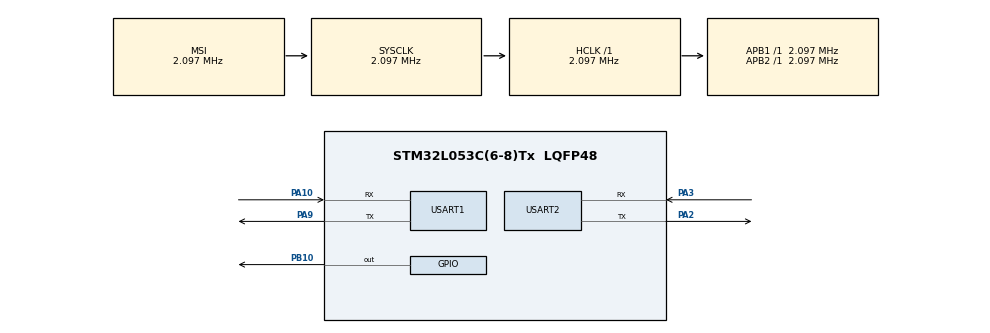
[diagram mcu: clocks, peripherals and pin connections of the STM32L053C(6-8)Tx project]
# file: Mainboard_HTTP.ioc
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Mcu.Family=STM32L0
Mcu.Name=STM32L053C(6-8)Tx
Mcu.Package=LQFP48
PA10.Mode=Asynchronous
PA10.Signal=USART1_RX
PA2.Mode=Asynchronous
PA2.Signal=USART2_TX
PA3.Mode=Asynchronous
PA3.Signal=USART2_RX
PA9.Mode=Asynchronous
PA9.Signal=USART1_TX
PB10.Signal=GPIO_Output
ProjectManager.HeapSize=0x200
ProjectManager.StackSize=0x400
ProjectManager.TargetToolchain=STM32CubeIDE
RCC.AHBFreq_Value=2097000
RCC.APB1Freq_Value=2097000
RCC.APB1TimFreq_Value=2097000
RCC.APB2Freq_Value=2097000
RCC.APB2TimFreq_Value=2097000
RCC.HSE_VALUE=8000000
RCC.HSI16_VALUE=16000000
RCC.HSI48_VALUE=48000000
RCC.HSI_VALUE=16000000
RCC.LSE_VALUE=32768
RCC.MSI_VALUE=2097000
RCC.SYSCLKFreq_VALUE=2097000
RCC.VCOOutputFreq_Value=48000000
USART1.VirtualMode-Asynchronous=VM_ASYNC
USART2.VirtualMode-Asynchronous=VM_ASYNC
board=custom

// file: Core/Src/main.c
/* USER CODE BEGIN Header */
/**
  ******************************************************************************
  * @file           : main.c
  * @brief          : Main program body
  ******************************************************************************
  * @attention
  *
  * Copyright (c) 2024 STMicroelectronics.
  * All rights reserved.
  *
  * This software is licensed under terms that can be found in the LICENSE file
  * in the root directory of this software component.
  * If no LICENSE file comes with this software, it is provided AS-IS.
  *
  ******************************************************************************
  */
/* USER CODE END Header */
#include "main.h"

/* USER CODE BEGIN Includes */
#include "stdio.h"
/* USER CODE END Includes */

/* USER CODE BEGIN PM */
#define KX122_ADDR 0x1F << 1  // O endereço pode variar dependendo da configuração do pino ADDR

// Defina os registradores do KX122-1037
#define KX122_WHO_AM_I 0x0F
#define KX122_CTRL_REG1 0x18
#define KX122_DATA_CTRL_REG 0x1B
#define KX122_XOUT_L 0x06

// Variáveis para armazenar dados do acelerômetro
int16_t x, y, z;
float x_g, y_g, z_g;
/* USER CODE END PM */

UART_HandleTypeDef huart1;
UART_HandleTypeDef huart2;

/* USER CODE BEGIN PV */
I2C_HandleTypeDef hi2c1;
/* USER CODE END PV */

void SystemClock_Config(void);
static void MX_GPIO_Init(void);
static void MX_USART1_UART_Init(void);
static void MX_USART2_UART_Init(void);
/* USER CODE BEGIN PFP */
void KX122_Init(I2C_HandleTypeDef *hi2c);
void KX122_ReadAccel(I2C_HandleTypeDef *hi2c, int16_t *x, int16_t *y, int16_t *z);
/* USER CODE END PFP */

/* USER CODE BEGIN 0 */
int __io_putchar(int ch) {
    HAL_UART_Transmit(&huart2, (uint8_t *)&ch, 1, HAL_MAX_DELAY);
    return ch;
}
/* USER CODE END 0 */

int main(void)
{

  /* MCU Configuration--------------------------------------------------------*/

  /* Reset of all peripherals, Initializes the Flash interface and the Systick. */
  HAL_Init();

  /* Configure the system clock */
  SystemClock_Config();

  /* Initialize all configured peripherals */
  MX_GPIO_Init();
  MX_USART1_UART_Init();
  MX_USART2_UART_Init();
  /* USER CODE BEGIN 2 */

  printf("Inicializando KX122-1037...\n");
  KX122_Init(&hi2c1);

  /* USER CODE END 2 */

  /* Infinite loop */
  while (1)
  {

  }
}

void SystemClock_Config(void)
{
  RCC_OscInitTypeDef RCC_OscInitStruct = {0};
  RCC_ClkInitTypeDef RCC_ClkInitStruct = {0};
  RCC_PeriphCLKInitTypeDef PeriphClkInit = {0};

  /** Configure the main internal regulator output voltage
  */
  __HAL_PWR_VOLTAGESCALING_CONFIG(PWR_REGULATOR_VOLTAGE_SCALE1);

  /** Initializes the RCC Oscillators according to the specified parameters
  * in the RCC_OscInitTypeDef structure.
  */
  RCC_OscInitStruct.OscillatorType = RCC_OSCILLATORTYPE_MSI;
  RCC_OscInitStruct.MSIState = RCC_MSI_ON;
  RCC_OscInitStruct.MSICalibrationValue = 0;
  RCC_OscInitStruct.MSIClockRange = RCC_MSIRANGE_5;
  RCC_OscInitStruct.PLL.PLLState = RCC_PLL_NONE;
  if (HAL_RCC_OscConfig(&RCC_OscInitStruct) != HAL_OK)
  {
    Error_Handler();
  }

  /** Initializes the CPU, AHB and APB buses clocks
  */
  RCC_ClkInitStruct.ClockType = RCC_CLOCKTYPE_HCLK|RCC_CLOCKTYPE_SYSCLK
                              |RCC_CLOCKTYPE_PCLK1|RCC_CLOCKTYPE_PCLK2;
  RCC_ClkInitStruct.SYSCLKSource = RCC_SYSCLKSOURCE_MSI;
  RCC_ClkInitStruct.AHBCLKDivider = RCC_SYSCLK_DIV1;
  RCC_ClkInitStruct.APB1CLKDivider = RCC_HCLK_DIV1;
  RCC_ClkInitStruct.APB2CLKDivider = RCC_HCLK_DIV1;

  if (HAL_RCC_ClockConfig(&RCC_ClkInitStruct, FLASH_LATENCY_0) != HAL_OK)
  {
    Error_Handler();
  }
  PeriphClkInit.PeriphClockSelection = RCC_PERIPHCLK_USART1|RCC_PERIPHCLK_USART2;
  PeriphClkInit.Usart1ClockSelection = RCC_USART1CLKSOURCE_PCLK2;
  PeriphClkInit.Usart2ClockSelection = RCC_USART2CLKSOURCE_PCLK1;
  if (HAL_RCCEx_PeriphCLKConfig(&PeriphClkInit) != HAL_OK)
  {
    Error_Handler();
  }
}

static void MX_USART1_UART_Init(void)
{

  huart1.Instance = USART1;
  huart1.Init.BaudRate = 115200;
  huart1.Init.WordLength = UART_WORDLENGTH_8B;
  huart1.Init.StopBits = UART_STOPBITS_1;
  huart1.Init.Parity = UART_PARITY_NONE;
  huart1.Init.Mode = UART_MODE_TX_RX;
  huart1.Init.HwFlowCtl = UART_HWCONTROL_NONE;
  huart1.Init.OverSampling = UART_OVERSAMPLING_16;
  huart1.Init.OneBitSampling = UART_ONE_BIT_SAMPLE_DISABLE;
  huart1.AdvancedInit.AdvFeatureInit = UART_ADVFEATURE_NO_INIT;
  if (HAL_UART_Init(&huart1) != HAL_OK)
  {
    Error_Handler();
  }

}

static void MX_USART2_UART_Init(void)
{

  huart2.Instance = USART2;
  huart2.Init.BaudRate = 115200;
  huart2.Init.WordLength = UART_WORDLENGTH_8B;
  huart2.Init.StopBits = UART_STOPBITS_1;
  huart2.Init.Parity = UART_PARITY_NONE;
  huart2.Init.Mode = UART_MODE_TX_RX;
  huart2.Init.HwFlowCtl = UART_HWCONTROL_NONE;
  huart2.Init.OverSampling = UART_OVERSAMPLING_16;
  huart2.Init.OneBitSampling = UART_ONE_BIT_SAMPLE_DISABLE;
  huart2.AdvancedInit.AdvFeatureInit = UART_ADVFEATURE_NO_INIT;
  if (HAL_UART_Init(&huart2) != HAL_OK)
  {
    Error_Handler();
  }

}

static void MX_GPIO_Init(void)
{
  GPIO_InitTypeDef GPIO_InitStruct = {0};

  /* GPIO Ports Clock Enable */
  __HAL_RCC_GPIOA_CLK_ENABLE();
  __HAL_RCC_GPIOB_CLK_ENABLE();

  /*Configure GPIO pin Output Level */
  HAL_GPIO_WritePin(GPIOB, GPIO_PIN_10, GPIO_PIN_RESET);

  /*Configure GPIO pin : PB10 */
  GPIO_InitStruct.Pin = GPIO_PIN_10;
  GPIO_InitStruct.Mode = GPIO_MODE_OUTPUT_PP;
  GPIO_InitStruct.Pull = GPIO_NOPULL;
  GPIO_InitStruct.Speed = GPIO_SPEED_FREQ_LOW;
  HAL_GPIO_Init(GPIOB, &GPIO_InitStruct);

}

/* USER CODE BEGIN 4 */
void KX122_Init(I2C_HandleTypeDef *hi2c) {
    uint8_t data[2];

    // Verificar o ID do dispositivo
    HAL_I2C_Mem_Read(hi2c, KX122_ADDR, KX122_WHO_AM_I, 1, &data[0], 1, HAL_MAX_DELAY);

    if (data[0] != 0x1A) {  // Valor esperado do WHO_AM_I
        // Dispositivo não encontrado ou ID incorreto
        printf("Erro: ID do dispositivo incorreto (0x%X)\n", data[0]);
        while (1);
    } else {
        printf("ID do dispositivo correto (0x%X)\n", data[0]);
    }

    // Configurar o KX122-1037 (ativar e configurar o sensor)
    data[0] = KX122_CTRL_REG1;
    data[1] = 0x80;  // Configurar modo de operação (ativar sensor)
    HAL_I2C_Mem_Write(hi2c, KX122_ADDR, data[0], 1, &data[1], 1, HAL_MAX_DELAY);
    printf("CTRL_REG1 configurado (0x%X)\n", data[1]);

    data[0] = KX122_DATA_CTRL_REG;
    data[1] = 0x0F;  // Configurar taxa de saída de dados para 25,600 Hz
    HAL_I2C_Mem_Write(hi2c, KX122_ADDR, data[0], 1, &data[1], 1, HAL_MAX_DELAY);
    printf("DATA_CTRL_REG configurado (0x%X)\n", data[1]);
}

void KX122_ReadAccel(I2C_HandleTypeDef *hi2c, int16_t *x, int16_t *y, int16_t *z) {
    uint8_t buffer[6];

    // Ler os dados do acelerômetro (6 bytes: X_L, X_H, Y_L, Y_H, Z_L, Z_H)
    HAL_I2C_Mem_Read(hi2c, KX122_ADDR, KX122_XOUT_L, 1, buffer, 6, HAL_MAX_DELAY);

    // Converter os dados lidos para valores de 16 bits
    *x = (int16_t)(buffer[1] << 8 | buffer[0]);
    *y = (int16_t)(buffer[3] << 8 | buffer[2]);
    *z = (int16_t)(buffer[5] << 8 | buffer[4]);
}

/* USER CODE END 4 */

void Error_Handler(void)
{
  __disable_irq();
  while (1)
  {
  }
}
